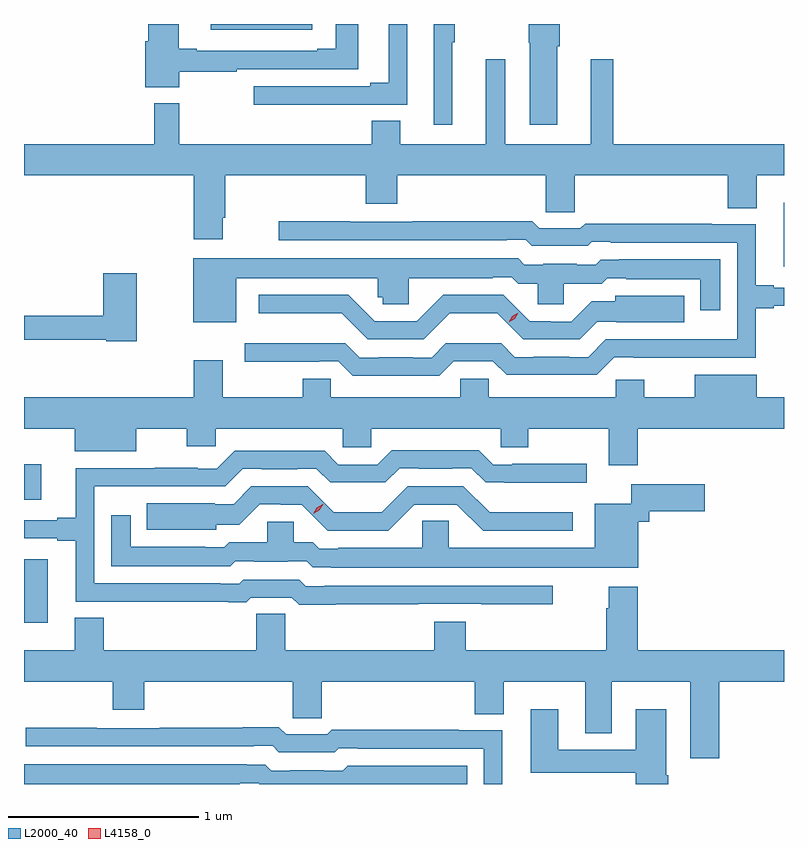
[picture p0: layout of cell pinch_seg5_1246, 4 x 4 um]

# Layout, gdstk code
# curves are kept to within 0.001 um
import gdstk
lib = gdstk.Library(unit=1e-6, precision=1e-09)
def R(c, l, rs):  # rectangles x0, y0, x1, y1
    for r in rs: c.add(gdstk.rectangle(r[:2], r[2:], *l))
def P(c, l, *ps):  # polygons
    for p in ps: c.add(gdstk.Polygon(p, *l))
L2000_40 = (2000, 40)
L4158_0 = (4158, 0)

pinch_seg5_1246 = lib.new_cell('pinch_seg5_1246')
R(pinch_seg5_1246, L2000_40, [(479.268,855.738,479.392,856.072), (479.268,856.385,479.36,856.573), (483.266,857.612,483.268,857.947), (480.251,858.86,480.784,858.889)])
P(pinch_seg5_1246, L2000_40, [(480.084,858.639),(480.389,858.639),(480.389,858.651),(481.027,858.651),(481.027,858.889),(480.908,858.889),(480.908,858.76),(480.812,858.76),(480.812,858.747),(480.178,858.747),(480.178,858.76),(480.082,858.76),(480.082,858.889),(479.921,858.889),(479.921,858.797),(479.906,858.797),(479.906,858.556),(480.084,858.556)],
  [(481.013,858.465),(481.285,858.465),(481.285,858.889),(481.187,858.889),(481.187,858.581),(481.091,858.581),(481.091,858.561),(480.477,858.561),(480.477,858.464),(481.013,858.464)],
  [(482.074,858.772),(482.087,858.772),(482.087,858.889),(481.924,858.889),(481.924,858.79),(481.931,858.79),(481.931,858.36),(482.074,858.36)],
  [(481.522,858.793),(481.534,858.793),(481.534,858.889),(481.424,858.889),(481.424,858.36),(481.522,858.36)],
  [(480.313,857.869),(480.326,857.869),(480.326,858.092),(481.067,858.092),(481.067,857.943),(481.232,857.943),(481.232,858.092),(482.015,858.092),(482.015,857.899),(482.167,857.899),(482.167,858.092),(482.972,858.092),(482.972,857.92),(483.124,857.92),(483.124,858.092),(483.268,858.092),(483.268,858.256),(482.369,858.256),(482.369,858.703),(482.252,858.703),(482.252,858.256),(481.801,858.256),(481.801,858.703),(481.697,858.703),(481.697,858.256),(481.249,858.256),(481.249,858.38),(481.097,858.38),(481.097,858.256),(480.084,858.256),(480.084,858.471),(479.954,858.471),(479.954,858.256),(479.268,858.256),(479.268,858.092),(480.161,858.092),(480.161,857.757),(480.313,857.757)],
  [(481.53,857.115),(481.735,857.115),(481.808,857.042),(482.282,857.042),(482.375,857.135),(482.476,857.135),(482.476,857.132),(483.119,857.133),(483.119,857.394),(483.214,857.394),(483.214,857.406),(483.268,857.406),(483.268,857.502),(483.214,857.502),(483.214,857.515),(483.118,857.515),(483.118,857.835),(482.888,857.835),(482.888,857.838),(482.221,857.839),(482.196,857.814),(481.98,857.814),(481.942,857.852),(481.75,857.852),(481.75,857.85),(481.315,857.85),(481.315,857.847),(480.983,857.847),(480.983,857.85),(480.609,857.85),(480.609,857.751),(481.808,857.751),(481.808,857.754),(481.908,857.754),(481.941,857.721),(482.235,857.721),(482.256,857.742),(482.356,857.742),(482.356,857.739),(483.021,857.739),(483.021,857.229),(482.331,857.229),(482.238,857.136),(482.138,857.136),(482.138,857.139),(481.951,857.139),(481.951,857.136),(481.851,857.136),(481.779,857.208),(481.488,857.208),(481.413,857.133),(481.313,857.133),(481.313,857.136),(481.135,857.136),(481.135,857.133),(481.035,857.133),(480.96,857.208),(480.429,857.209),(480.429,857.111),(480.821,857.111),(480.821,857.115),(480.921,857.115),(480.997,857.039),(481.454,857.039)],
  [(480.385,857.552),(481.131,857.552),(481.131,857.451),(481.155,857.451),(481.155,857.415),(481.293,857.415),(481.293,857.552),(481.736,857.552),(481.736,857.556),(481.836,857.556),(481.869,857.523),(481.971,857.523),(481.971,857.415),(482.109,857.415),(482.109,857.522),(482.309,857.522),(482.337,857.55),(482.437,857.55),(482.437,857.546),(482.828,857.546),(482.828,857.382),(482.932,857.382),(482.932,857.65),(482.304,857.649),(482.277,857.622),(482.177,857.622),(482.177,857.626),(482.002,857.626),(482.002,857.622),(481.902,857.622),(481.869,857.655),(480.158,857.656),(480.158,857.318),(480.385,857.318)],
  [(479.862,857.578),(479.684,857.578),(479.684,857.354),(479.268,857.354),(479.268,857.226),(479.7,857.226),(479.7,857.218),(479.862,857.218)],
  [(481.508,857.366),(481.759,857.366),(481.896,857.229),(482.193,857.229),(482.286,857.322),(482.386,857.322),(482.386,857.318),(482.743,857.318),(482.743,857.458),(482.379,857.458),(482.379,857.431),(482.257,857.431),(482.148,857.322),(482.04,857.322),(482.04,857.325),(481.929,857.325),(481.791,857.463),(481.474,857.463),(481.336,857.325),(481.113,857.325),(480.975,857.463),(480.504,857.463),(480.504,857.366),(480.94,857.366),(481.077,857.229),(481.371,857.229)],
  [(482.382,856.924),(481.713,856.924),(481.713,857.022),(481.563,857.022),(481.563,856.924),(480.882,856.924),(480.882,857.022),(480.736,857.022),(480.736,856.924),(480.313,856.924),(480.313,857.119),(480.161,857.119),(480.161,856.924),(479.268,856.924),(479.268,856.76),(479.534,856.76),(479.534,856.64),(479.86,856.64),(479.86,856.76),(480.125,856.76),(480.125,856.667),(480.277,856.667),(480.277,856.76),(480.945,856.76),(480.945,856.662),(481.095,856.662),(481.095,856.76),(481.776,856.76),(481.776,856.662),(481.923,856.662),(481.923,856.76),(482.345,856.76),(482.345,856.566),(482.498,856.566),(482.498,856.76),(483.268,856.76),(483.268,856.924),(483.124,856.924),(483.124,857.044),(482.798,857.044),(482.798,856.924),(482.533,856.924),(482.533,857.017),(482.382,857.017)],
  [(480.908,855.835),(481.343,855.835),(481.343,855.837),(481.675,855.837),(481.675,855.835),(482.05,855.835),(482.05,855.933),(480.85,855.933),(480.85,855.93),(480.75,855.93),(480.717,855.963),(480.423,855.963),(480.402,855.942),(480.302,855.942),(480.302,855.945),(479.637,855.945),(479.637,856.455),(480.327,856.455),(480.42,856.548),(480.52,856.548),(480.52,856.545),(480.707,856.545),(480.707,856.548),(480.807,856.548),(480.879,856.476),(481.17,856.476),(481.245,856.551),(481.345,856.551),(481.345,856.548),(481.523,856.548),(481.523,856.551),(481.623,856.551),(481.698,856.476),(482.23,856.475),(482.23,856.574),(481.837,856.574),(481.837,856.569),(481.737,856.569),(481.661,856.645),(481.204,856.645),(481.128,856.569),(480.923,856.569),(480.85,856.642),(480.376,856.642),(480.283,856.549),(480.182,856.549),(480.182,856.553),(479.956,856.553),(479.956,856.551),(479.54,856.551),(479.54,856.291),(479.444,856.291),(479.444,856.278),(479.268,856.278),(479.268,856.182),(479.444,856.182),(479.444,856.17),(479.54,856.17),(479.54,855.849),(479.77,855.849),(479.77,855.847),(480.344,855.847),(480.344,855.845),(480.437,855.845),(480.462,855.87),(480.678,855.87),(480.716,855.832),(480.908,855.832)],
  [(482.5,856.269),(482.559,856.269),(482.559,856.325),(482.851,856.325),(482.851,856.467),(482.463,856.467),(482.463,856.365),(482.273,856.365),(482.273,856.132),(481.503,856.132),(481.503,856.274),(481.365,856.274),(481.365,856.132),(480.922,856.132),(480.922,856.128),(480.822,856.128),(480.789,856.161),(480.687,856.161),(480.687,856.269),(480.549,856.269),(480.549,856.162),(480.349,856.162),(480.321,856.134),(480.221,856.134),(480.221,856.138),(479.83,856.138),(479.83,856.303),(479.726,856.303),(479.726,856.034),(480.354,856.035),(480.381,856.062),(480.481,856.062),(480.481,856.058),(480.656,856.058),(480.656,856.062),(480.756,856.062),(480.789,856.029),(482.5,856.028)],
  [(481.322,856.359),(481.546,856.359),(481.684,856.221),(482.155,856.221),(482.155,856.318),(481.718,856.318),(481.581,856.455),(481.287,856.455),(481.15,856.318),(480.899,856.318),(480.762,856.455),(480.465,856.455),(480.372,856.362),(480.272,856.362),(480.272,856.366),(479.915,856.366),(479.915,856.226),(480.279,856.226),(480.279,856.253),(480.401,856.253),(480.51,856.362),(480.618,856.362),(480.618,856.359),(480.729,856.359),(480.867,856.221),(481.184,856.221)],
  [(482.927,855.428),(483.268,855.428),(483.268,855.592),(482.498,855.592),(482.498,855.928),(482.345,855.928),(482.345,855.815),(482.333,855.815),(482.333,855.592),(481.592,855.592),(481.592,855.742),(481.427,855.742),(481.427,855.592),(480.643,855.592),(480.643,855.785),(480.491,855.785),(480.491,855.592),(479.687,855.592),(479.687,855.764),(479.534,855.764),(479.534,855.592),(479.268,855.592),(479.268,855.428),(479.735,855.428),(479.735,855.279),(479.9,855.279),(479.9,855.428),(480.683,855.428),(480.683,855.235),(480.835,855.235),(480.835,855.428),(481.64,855.428),(481.64,855.256),(481.792,855.256),(481.792,855.428),(482.222,855.428),(482.222,855.155),(482.362,855.155),(482.362,855.428),(482.774,855.428),(482.774,855.024),(482.927,855.024)],
  [(482.66,854.936),(482.647,854.936),(482.647,855.283),(482.489,855.283),(482.489,855.07),(482.08,855.07),(482.08,855.283),(481.934,855.283),(481.934,854.948),(482.489,854.948),(482.489,854.889),(482.66,854.889)],
  [(481.786,855.171),(481.556,855.171),(481.556,855.174),(480.889,855.175),(480.864,855.15),(480.648,855.15),(480.61,855.188),(480.418,855.188),(480.418,855.186),(479.983,855.186),(479.983,855.183),(479.651,855.183),(479.651,855.186),(479.277,855.186),(479.277,855.087),(480.476,855.087),(480.476,855.09),(480.576,855.09),(480.609,855.057),(480.903,855.057),(480.924,855.078),(481.024,855.078),(481.024,855.075),(481.689,855.075),(481.689,854.889),(481.786,854.889)],
  [(480.404,854.892),(480.504,854.892),(480.507,854.889),(481.6,854.889),(481.6,854.986),(480.972,854.985),(480.945,854.958),(480.845,854.958),(480.845,854.962),(480.67,854.962),(480.67,854.958),(480.57,854.958),(480.537,854.991),(479.268,854.992),(479.268,854.889),(480.404,854.889)])
P(pinch_seg5_1246, L4158_0, [(481.82,857.318),(481.82,857.318),(481.838,857.351),(481.87,857.37),(481.87,857.37),(481.87,857.37),(481.852,857.337),(481.82,857.318)],
  [(480.791,856.311),(480.791,856.311),(480.809,856.344),(480.841,856.362),(480.842,856.362),(480.842,856.362),(480.823,856.33),(480.791,856.311)])

lib.write_gds('pinch_seg5_1246.gds')
